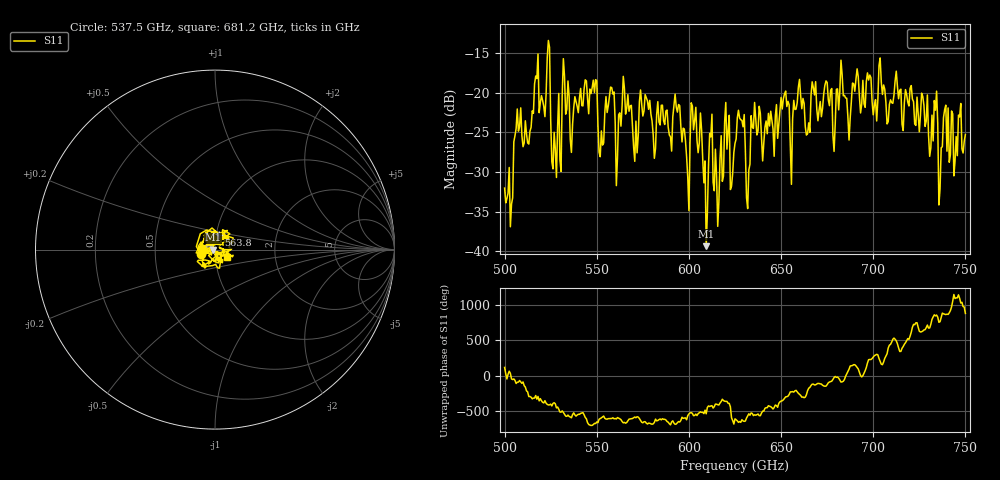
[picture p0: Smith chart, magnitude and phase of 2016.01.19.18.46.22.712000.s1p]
!Created with skrf (http://scikit-rf.org).
# GHz S RI R 50.0
!freq ReS11 ImS11
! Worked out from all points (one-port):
!   401 points, 500 GHz to 750 GHz, reference 50 ohm
!   lowest |S11| = -39.3 dB at 609.4 GHz (marker M1), VSWR 1.02, Z = 48.9 - j0.0805 ohm
!   |S11| at or under -10 dB: start of sweep to end of sweep
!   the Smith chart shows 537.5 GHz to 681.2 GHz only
!   S11 on the Smith chart (normalised r, x): 537.5 GHz: 0.86, -0.04; 563.8 GHz: 1.03, +0.17; 681.2 GHz: 1.13, -0.10
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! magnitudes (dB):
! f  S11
! 500 GHz  -32.0
! 516.9 GHz  -17.9
! 523.8 GHz  -13.4
! 526.9 GHz  -25.0
! 531.2 GHz  -20.4
! 537.5 GHz  -21.9
! 562.5 GHz  -22.5
! 563.8 GHz  -21.6
! 571.2 GHz  -23.6
! 593.8 GHz  -22.4
! 599.4 GHz  -30.7
! 602.5 GHz  -24.7
! 609.4 GHz  -39.3
! 611.9 GHz  -25.6
! 615 GHz  -30.5
! 620.6 GHz  -27.1
! 625 GHz  -26.4
! 631.9 GHz  -34.6
! 635 GHz  -24.5
! 651.2 GHz  -20.8
! 656.2 GHz  -23.3
! 681.2 GHz  -22.2
! 687.5 GHz  -23.2
! 718.8 GHz  -21.2
! 733.8 GHz  -22.2
! 736.2 GHz  -32.1
! 739.4 GHz  -21.6
! 750 GHz  -25.3
